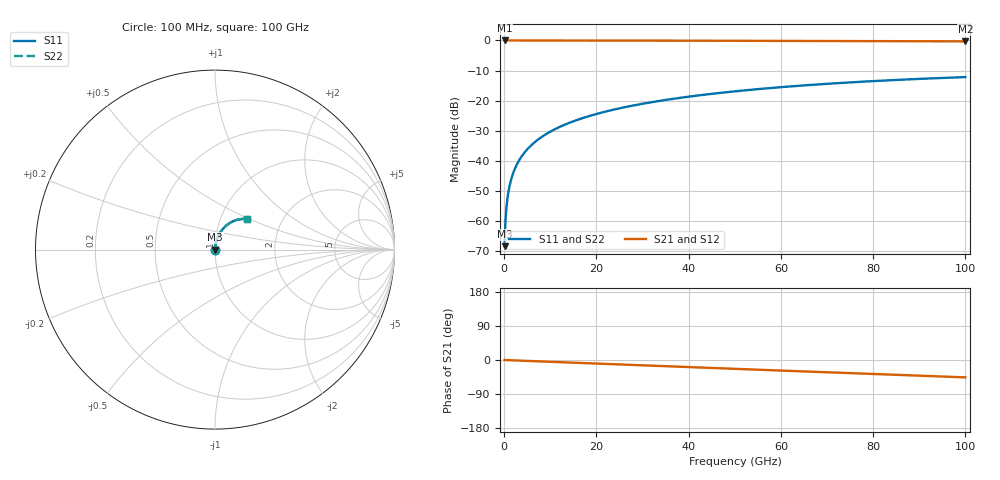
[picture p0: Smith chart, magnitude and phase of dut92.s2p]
! Touchstone file exported from HFSS 2026.1.0
!  File:  C:/ffzhzh/LocalFiles/Ansys_Project_Files/temp_train_TSV_92_1783505635_41296.aedt
!  Generated:  06:15:11 PM Jul  8, 2026
!  Design:  TSV
!  Project:  temp_train_TSV_92_1783505635_41296
! Variables:
!  h_bsmrdl = 2um
!  h_ox = 20um
!  h_rdl = 5um
!  h_sub = 83.86um
!  h_tmrdl = 5um
!  h_tsv = 83.86um
!  h_via = 3um
!  l_bsmrdl = 300um
!  l_sub = 416.86um
!  l_tmrdl = 200um
!  m_sub = 200um
!  pitch = 56.38um
!  r_tsv = 8.43um
!  s_tmrdl = 10um
!  w_bsmrdl = 18um
!  w_sub = 500um
!  w_tmrdl = 12um
!  x_tsv_center1 = 206um
!  x_tsv_center2 = 524um
!  x_tsv_center3 = 736um
!  x_tsv_center4 = 1054um
!  x_tsv_center5 = 1266um
!  x_tsv_center6 = 1584um
# GHz S MA R 50.000000
! Terminal data exported
! Port[1] = TSV1_1_T1
! Port[2] = TSV1_1_T2
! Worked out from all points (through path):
!   1000 points, 100 MHz to 100 GHz, reference 50 ohm
!   highest |S21| = 0.00 dB at 100 MHz (marker M1); lowest = -0.3 dB at 100 GHz (marker M2)
!   group delay of S21, straight-line fit = 1.27 ps
!   lowest |S11| = -68.3 dB at 100 MHz (marker M3), VSWR 1.00, Z = 50 + j0.0345 ohm
!   |S11| at or under -10 dB: start of sweep to end of sweep
!   |S22| runs from -68.3 to -12.2 dB; largest |S21 - S12| = 6.6e-15
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0.1  0.0003836 63.9  0.9998 -0.0  0.9998 -0.0  0.0003836 63.9
! Gamma 0 0 0 0
! Port Impedance 50 0 50 0
0.3  0.001042 79.0  0.9998 -0.1  0.9998 -0.1  0.001042 79.0
0.7  0.002339 83.0  0.9997 -0.3  0.9997 -0.3  0.002339 83.0
0.8  0.002656 83.3  0.9997 -0.4  0.9997 -0.4  0.002656 83.3
1  0.003286 83.9  0.9997 -0.5  0.9997 -0.5  0.003286 83.9
1.3  0.004225 84.4  0.9996 -0.6  0.9996 -0.6  0.004225 84.4
1.7  0.005469 84.8  0.9996 -0.8  0.9996 -0.8  0.005469 84.8
2.3  0.007322 85.1  0.9995 -1.1  0.9995 -1.1  0.007322 85.1
3  0.009465 85.2  0.9994 -1.4  0.9994 -1.4  0.009465 85.2
3.8  0.0119 85.1  0.9993 -1.8  0.9993 -1.8  0.0119 85.1
4.8  0.01493 85.0  0.9992 -2.3  0.9992 -2.3  0.01493 85.0
6  0.01855 84.7  0.999 -2.9  0.999 -2.9  0.01855 84.7
8.8  0.02698 83.8  0.9987 -4.2  0.9987 -4.2  0.02698 83.8
12.4  0.03772 82.4  0.9981 -5.9  0.9981 -5.9  0.03772 82.4
16.8  0.05074 80.5  0.9974 -7.9  0.9974 -7.9  0.05074 80.5
24.2  0.07231 77.3  0.9958 -11.4  0.9958 -11.4  0.07231 77.3
33.4  0.09842 73.3  0.9933 -15.7  0.9933 -15.7  0.09842 73.2
41.2  0.1198 69.7  0.9907 -19.3  0.9907 -19.3  0.1198 69.7
50.1  0.1431 65.7  0.9874 -23.4  0.9874 -23.4  0.1431 65.7
66.7  0.1832 58.3  0.9805 -31.0  0.9805 -31.0  0.1832 58.3
83.4  0.218 50.9  0.9731 -38.5  0.9731 -38.5  0.218 50.9
100  0.2463 43.6  0.966 -45.8  0.966 -45.8  0.2463 43.6
